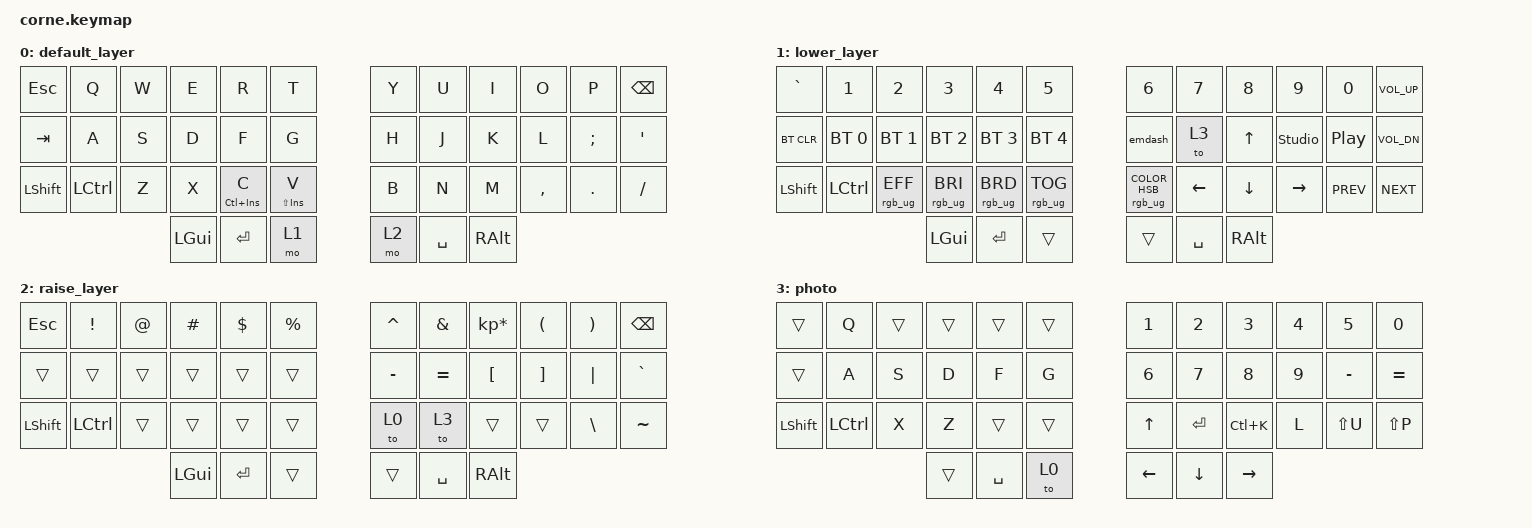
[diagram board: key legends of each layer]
/*
 * Copyright (c) 2020 The ZMK Contributors
 *
 * SPDX-License-Identifier: MITsssSSSS
 */

#include <behaviors.dtsi>
#include <dt-bindings/zmk/bt.h>
#include <dt-bindings/zmk/keys.h>
#include <dt-bindings/zmk/rgb.h>

// Specify the LED chain length for the LED strip

&led_strip {
    chain-length = <27>;  // Set this to the number of LEDs on each half of your keyboard
};

&mt {
    flavor = "tap-preferred";
    tapping-term-ms = <400>;
};

/ {
    macros {
        picked: picked {
            compatible = "zmk,behavior-macro";
            #binding-cells = <0>;
            bindings = <&kp KP_NUMBER_5 &kp P &kp RIGHT>;
            label = "PICKED";
        };

        unpicked: unpicked {
            compatible = "zmk,behavior-macro";
            #binding-cells = <0>;
            bindings = <&kp KP_NUMBER_0 &kp U &kp RIGHT_ARROW>;
            label = "UNPICKED";
        };

        emdash: emdash {
            compatible = "zmk,behavior-macro";
            #binding-cells = <0>;
            bindings =
                <&macro_press>,
                <&kp LEFT_ALT>,
                <&macro_tap>,
                <&kp KP_NUMBER_0 &kp KP_NUMBER_1 &kp KP_NUMBER_5 &kp KP_NUMBER_1>,
                <&macro_release>,
                <&kp LEFT_ALT>;

            label = "EMDASH";
        };
    };

    behaviors {
        hold_ctrl_insert: hold_ctrl_insert {
            compatible = "zmk,behavior-macro";
            #binding-cells = <0>;
            bindings = <&kp LC(C) &kp INSERT>;
        };

        hold_shift_insert: hold_shift_insert {
            compatible = "zmk,behavior-macro";
            #binding-cells = <0>;
            bindings = <&kp LS(V) &kp INSERT>;
        };
    };

    keymap {
        compatible = "zmk,keymap";

        default_layer {
            // -----------------------------------------------------------------------------------------
            // |  TAB |  Q  |  W  |  E  |  R  |  T  |   |  Y  |  U   |  I  |  O  |  P  | BKSP |
            // | CTRL |  A  |  S  |  D  |  F  |  G  |   |  H  |  J   |  K  |  L  |  ;  |  '   |
            // | SHFT |  Z  |  X  |  C  |  V  |  B  |   |  N  |  M   |  ,  |  .  |  /  | SHFT |
            //                    | GUI | LWR | RET |   | SPC | RSE  | ALT |

            bindings = <
&kp ESC         &kp Q      &kp W  &kp E     &kp R             &kp T               &kp Y  &kp U      &kp I     &kp O      &kp P       &kp BSPC
&kp TAB         &kp A      &kp S  &kp D     &kp F             &kp G               &kp H  &kp J      &kp K     &kp L      &kp SEMI    &kp SQT
&kp LEFT_SHIFT  &kp LCTRL  &kp Z  &kp X     &mt LC(INSERT) C  &mt LS(INSERT) V    &kp B  &kp N      &kp M     &kp COMMA  &kp PERIOD  &kp SLASH
                                  &kp LGUI  &kp ENTER         &mo 1               &mo 2  &kp SPACE  &kp RALT
            >;
        };

        lower_layer {
            // -----------------------------------------------------------------------------------------
            // |  ESC |  1  |  2  |  3  |  4  |  5  |   |  6  |  7  |  8  |  9  |  0  | BKSP |
            // | BTCLR| BT1 | BT2 | BT3 | BT4 | BT5 |   | LFT | DWN |  UP | RGT |     |      |
            // | SHFT |     |     |     |     |     |   |     |     |     |     |     |      |
            //                    | GUI |     | ENT |   | SPC |     | ALT |

            bindings = <
&kp GRAVE   &kp NUMBER_1  &kp NUMBER_2     &kp NUMBER_3     &kp NUMBER_4     &kp N5             &kp NUMBER_6                     &kp N7     &kp N8        &kp N9          &kp N0            &kp C_VOL_UP
&bt BT_CLR  &bt BT_SEL 0  &bt BT_SEL 1     &bt BT_SEL 2     &bt BT_SEL 3     &bt BT_SEL 4       &emdash                          &to 3      &kp UP_ARROW  &studio_unlock  &kp C_PLAY_PAUSE  &kp C_VOL_DN
&kp LSHFT   &kp LCTRL     &rgb_ug RGB_EFF  &rgb_ug RGB_BRI  &rgb_ug RGB_BRD  &rgb_ug RGB_TOG    &rgb_ug RGB_COLOR_HSB(79,96,52)  &kp LEFT   &kp DOWN      &kp RIGHT       &kp C_PREV        &kp C_NEXT
                                           &kp LGUI         &kp RET          &trans             &trans                           &kp SPACE  &kp RALT
            >;
        };

        raise_layer {
            // -----------------------------------------------------------------------------------------
            // |  ESC |  !  |  @  |  #  |  $  |  %  |   |  ^  |  &  |  *  |  (  |  )  | BKSP |
            // | CTRL |     |     |     |     |     |   |  -  |  =  |  {  |  }  | "|" |  `   |
            // | SHFT |     |     |     |     |     |   |  _  |  +  |  [  |  ]  |  \  |  ~   | // TODO: Fix this row when &mkp is committed
            //                    | GUI |     | SPC |   | ENT |     | ALT |

            bindings = <
&kp ESC    &kp EXCL   &kp AT  &kp HASH  &kp DLLR   &kp PRCNT    &kp CARET  &kp AMPS   &kp KP_MULTIPLY  &kp LPAR  &kp RPAR  &kp BSPC
&trans     &trans     &trans  &trans    &trans     &trans       &kp MINUS  &kp EQUAL  &kp LBKT         &kp RBKT  &kp PIPE  &kp GRAVE
&kp LSHFT  &kp LCTRL  &trans  &trans    &trans     &trans       &to 0      &to 3      &trans           &trans    &kp BSLH  &kp TILDE
                              &kp LGUI  &kp ENTER  &trans       &trans     &kp SPACE  &kp RALT
            >;
        };

        photo {
            bindings = <
&trans          &kp Q             &trans  &trans  &trans     &trans    &kp NUMBER_1    &kp NUMBER_2  &kp NUMBER_3  &kp NUMBER_4  &kp N5     &kp N0
&trans          &kp A             &kp S   &kp D   &kp F      &kp G     &kp NUMBER_6    &kp N7        &kp N8        &kp N9        &kp MINUS  &kp EQUAL
&kp LEFT_SHIFT  &kp LEFT_CONTROL  &kp X   &kp Z   &trans     &trans    &kp UP_ARROW    &kp ENTER     &kp LC(K)     &kp L         &kp LS(U)  &kp LS(P)
                                          &trans  &kp SPACE  &to 0     &kp LEFT_ARROW  &kp DOWN      &kp RIGHT
            >;
        };
    };
};
